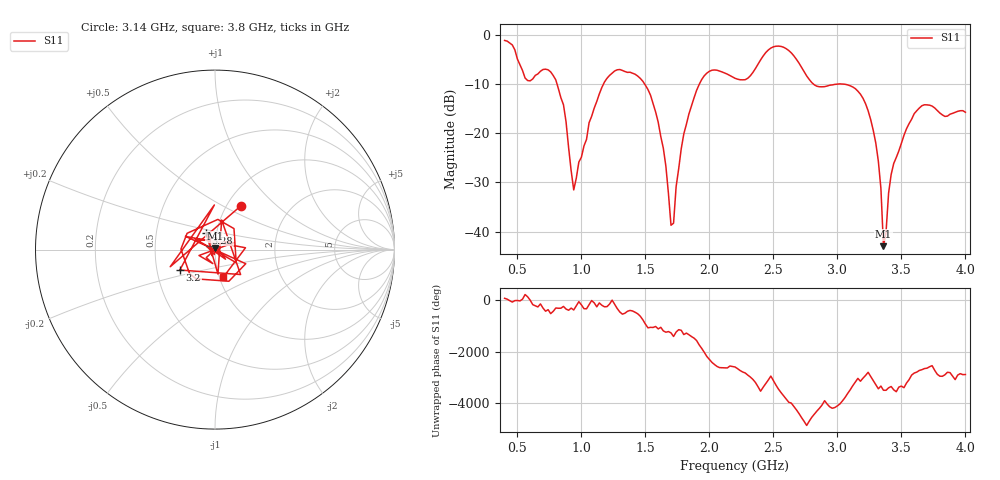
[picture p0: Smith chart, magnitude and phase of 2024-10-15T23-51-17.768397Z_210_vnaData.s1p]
! Created with skrf (http://scikit-rf.org).
# Hz S RI R 50.0
!freq ReS11 ImS11
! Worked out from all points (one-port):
!   181 points, 400 MHz to 4 GHz, reference 50 ohm
!   lowest |S11| = -42.9 dB at 3.36 GHz (marker M1), VSWR 1.01, Z = 49.9 + j0.702 ohm
!   |S11| at or under -10 dB: 809.3 MHz to 1.173 GHz (363.7 MHz wide, 36.7 % of centre); 1.493 GHz to 1.922 GHz (428.7 MHz wide, 25.1 % of centre); 3.025 GHz to end of sweep (the widest 3 of 4)
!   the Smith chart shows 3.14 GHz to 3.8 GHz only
!   S11 on the Smith chart (normalised r, x): 3.14 GHz: 1.16, +0.62; 3.2 GHz: 0.66, -0.16; 3.28 GHz: 0.89, +0.17; 3.8 GHz: 1.04, -0.33
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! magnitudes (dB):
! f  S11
! 400 MHz  -1.2
! 580 MHz  -9.3
! 760 MHz  -7.6
! 860 MHz  -14.2
! 940 MHz  -31.5
! 1.14 GHz  -12.0
! 1.3 GHz  -7.1
! 1.54 GHz  -12.3
! 1.64 GHz  -23.0
! 1.7 GHz  -38.7
! 1.72 GHz  -38.3
! 1.76 GHz  -27.2
! 1.84 GHz  -16.1
! 1.94 GHz  -9.1
! 2.2 GHz  -8.8
! 2.5 GHz  -2.5
! 2.66 GHz  -4.3
! 2.84 GHz  -10.5
! 3.1 GHz  -10.4
! 3.14 GHz  -11.0
! 3.2 GHz  -12.9
! 3.28 GHz  -19.4
! 3.34 GHz  -31.2
! 3.36 GHz  -42.9
! 3.42 GHz  -28.4
! 3.56 GHz  -18.1
! 3.8 GHz  -15.9
! 4 GHz  -15.7
